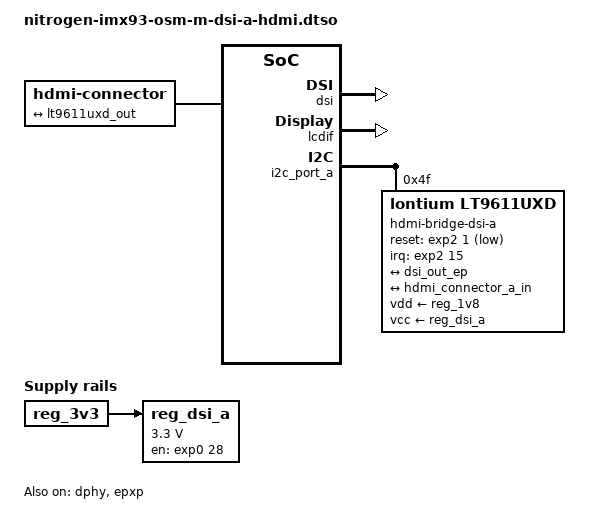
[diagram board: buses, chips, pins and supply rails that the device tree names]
// SPDX-License-Identifier: GPL-2.0-only OR MIT
/*
 * DSI A to HDMI LT9611UXD Expansion Board for Nitrogen i.MX93 OSM-M
 *
 * Copyright (C) 2026 Ezurio LLC
 */

/dts-v1/;
/plugin/;

#include <dt-bindings/gpio/gpio.h>
#include <dt-bindings/interrupt-controller/irq.h>

&{/} {
	hdmi-connector-a {
		compatible = "hdmi-connector";
		label = "hdmi";
		type = "a";

		port {
			hdmi_connector_a_in: endpoint {
				remote-endpoint = <&lt9611uxd_out>;
			};
		};
	};

	reg_dsi_a: regulator-dsi-a {
		compatible = "regulator-fixed";
		regulator-name = "reg_dsi_a";
		regulator-min-microvolt = <3300000>;
		regulator-max-microvolt = <3300000>;

		vin-supply = <&reg_3v3>;
		gpio = <&exp0 28 GPIO_ACTIVE_HIGH>; /* DSI_A_VDD_EN / GPIO_C_4 */
		enable-active-high;
		startup-delay-us = <20000>;
		regulator-always-on;
	};

	display-subsystem {
		status = "okay";
	};
};

&dsi_out_ep {
	remote-endpoint = <&lt9611uxd_in>;
	attach-bridge;
};

&dphy {
	status = "okay";
};

&dsi {
	status = "okay";
};

&epxp {
	status = "okay";
};

&lcdif {
	status = "okay";
};

&i2c_port_a {
	#address-cells = <1>;
	#size-cells = <0>;

	hdmi-bridge-dsi-a@4f {
		compatible = "lontium,lt9611uxd";
		reg = <0x4f>;

		reset-gpios = <&exp2 1 GPIO_ACTIVE_LOW>;

		interrupts-extended = <&exp2 15 IRQ_TYPE_EDGE_FALLING>;
		interrupt-names = "irq";

		vdd-supply = <&reg_1v8>;
		vcc-supply = <&reg_dsi_a>;

		ports {
			#address-cells = <1>;
			#size-cells = <0>;

			port@0 {
				reg = <0>;

				lt9611uxd_in: endpoint {
					remote-endpoint = <&dsi_out_ep>;
					data-lanes = <1 2 3 4>;
					clock-lanes = <0>;
				};
			};

			port@2 {
				reg = <2>;

				lt9611uxd_out: endpoint {
					remote-endpoint = <&hdmi_connector_a_in>;
				};
			};
		};
	};
};

